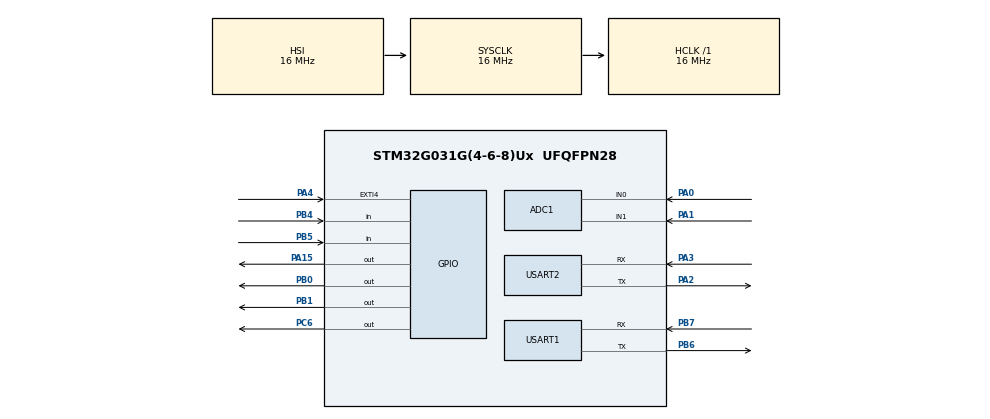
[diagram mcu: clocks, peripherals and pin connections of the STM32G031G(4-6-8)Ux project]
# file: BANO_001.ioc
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ADC1.Channel-1\#ChannelRegularConversion=ADC_CHANNEL_0
ADC1.Channel-3\#ChannelRegularConversion=ADC_CHANNEL_1
ADC1.ClockPrescaler=ADC_CLOCK_ASYNC_DIV10
ADC1.DiscontinuousConvMode=ENABLE
ADC1.NbrOfConversion=2
ADC1.NbrOfConversionFlag=1
ADC1.Rank-1\#ChannelRegularConversion=1
ADC1.Rank-3\#ChannelRegularConversion=2
ADC1.SamplingTime-1\#ChannelRegularConversion=ADC_SAMPLINGTIME_COMMON_1
ADC1.SamplingTime-3\#ChannelRegularConversion=ADC_SAMPLINGTIME_COMMON_2
ADC1.SamplingTimeCommon1=ADC_SAMPLETIME_160CYCLES_5
ADC1.SamplingTimeCommon2=ADC_SAMPLETIME_160CYCLES_5
ADC1.SelectedChannel=ADC_CHANNEL_0|ADC_CHANNEL_1
ADC1.Sequencer=FULLY_CONFIGURABLE
ADC1.master=1
Mcu.Family=STM32G0
Mcu.Name=STM32G031G(4-6-8)Ux
Mcu.Package=UFQFPN28
NVIC.TIM2_IRQn=true\:0\:0\:false\:false\:true\:true\:true\:true
NVIC.USART1_IRQn=true\:0\:0\:false\:false\:true\:true\:true\:true
NVIC.USART2_IRQn=true\:0\:0\:false\:false\:true\:true\:true\:true
PA0.Mode=IN0
PA0.Signal=ADC1_IN0
PA1.Mode=IN1
PA1.Signal=ADC1_IN1
PA15.Signal=GPIO_Output
PA2.Mode=Asynchronous
PA2.Signal=USART2_TX
PA3.Mode=Asynchronous
PA3.Signal=USART2_RX
PA4.Signal=GPXTI4
PB0.PinState=GPIO_PIN_SET
PB0.Signal=GPIO_Output
PB1.Signal=GPIO_Output
PB4.Signal=GPIO_Input
PB5.Signal=GPIO_Input
PB6.Mode=Asynchronous
PB6.Signal=USART1_TX
PB7.Mode=Asynchronous
PB7.Signal=USART1_RX
PC6.Signal=GPIO_Output
ProjectManager.HeapSize=0x200
ProjectManager.StackSize=0x400
ProjectManager.TargetToolchain=STM32CubeIDE
RCC.AHBFreq_Value=16000000
RCC.CortexFreq_Value=16000000
RCC.EXTERNAL_CLOCK_VALUE=12288000
RCC.HCLKFreq_Value=16000000
RCC.HSE_VALUE=8000000
RCC.HSI_VALUE=16000000
RCC.LSE_VALUE=32768
RCC.SYSCLKFreq_VALUE=16000000
RCC.VCOOutputFreq_Value=128000000
TIM2.Period=1
TIM2.Prescaler=15999
USART1.VirtualMode-Asynchronous=VM_ASYNC
USART2.VirtualMode-Asynchronous=VM_ASYNC
VP_TIM2_VS_ClockSourceINT.Mode=Internal
board=custom

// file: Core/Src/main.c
/* USER CODE BEGIN Header */
/**
  ******************************************************************************
  * @file           : main.c
  * @brief          : Main program body
  ******************************************************************************
  * @attention
  *
  * Copyright (c) 2024 STMicroelectronics.
  * All rights reserved.
  *
  * This software is licensed under terms that can be found in the LICENSE file
  * in the root directory of this software component.
  * If no LICENSE file comes with this software, it is provided AS-IS.
  *
  ******************************************************************************
  */

#include "Thermistor_Processing.h"

/* USER CODE END Header */
#include "main.h"

/* USER CODE BEGIN PD */

#define BUFFER_SIZE                                                     32

#define PERIOD   250
#define FLASH_PERIOD   25

/* USER CODE END PD */

ADC_HandleTypeDef hadc1;

TIM_HandleTypeDef htim2;

UART_HandleTypeDef huart1;
UART_HandleTypeDef huart2;

/* USER CODE BEGIN PV */

uint8_t transmitBuffer[BUFFER_SIZE];
uint8_t receiveBuffer[BUFFER_SIZE];

uint32_t Timer_State;

float Temperature;

/* USER CODE END PV */

void SystemClock_Config(void);
static void MX_GPIO_Init(void);
static void MX_ADC1_Init(void);
static void MX_USART1_UART_Init(void);
static void MX_USART2_UART_Init(void);
static void MX_TIM2_Init(void);
/* USER CODE BEGIN PFP */

void HEX_to_DEC(uint32_t Hex, char * DEC)
{
	char T = 48;
	DEC[3] = T;
	DEC[2] = T;
	DEC[1] = T;
	DEC[0] = T;
	while( Hex >= 1000 )
	{Hex = Hex - 1000; DEC[0] = DEC[0] + 1;}

	while( Hex >= 100 )
	{Hex = Hex - 100; DEC[1] = DEC[1] + 1;}

	while( Hex >= 10 )
	{Hex = Hex - 10; DEC[2] = DEC[2] + 1;}
	DEC[3] = DEC[3] + Hex;
}

/* USER CODE END PFP */

/* USER CODE BEGIN 0 */

// https://microtechnics.ru/stm32cube-tajmer-i-preryvaniya/

/* USER CODE END 0 */

int main(void)
{

  /* MCU Configuration--------------------------------------------------------*/

  /* Reset of all peripherals, Initializes the Flash interface and the Systick. */
  HAL_Init();

  /* USER CODE BEGIN Init */

  Timer_State = 0;

  /* USER CODE END Init */

  /* Configure the system clock */
  SystemClock_Config();

  /* Initialize all configured peripherals */
  MX_GPIO_Init();
  MX_ADC1_Init();
  MX_USART1_UART_Init();
  MX_USART2_UART_Init();
  MX_TIM2_Init();
  /* USER CODE BEGIN 2 */

  HAL_TIM_Base_Start_IT(&htim2);

  HAL_ADCEx_Calibration_Start(&hadc1);

  /* USER CODE END 2 */

  /* Infinite loop */
  while (1)
  {

  }
}

void SystemClock_Config(void)
{
  RCC_OscInitTypeDef RCC_OscInitStruct = {0};
  RCC_ClkInitTypeDef RCC_ClkInitStruct = {0};

  /** Configure the main internal regulator output voltage
  */
  HAL_PWREx_ControlVoltageScaling(PWR_REGULATOR_VOLTAGE_SCALE1);

  /** Initializes the RCC Oscillators according to the specified parameters
  * in the RCC_OscInitTypeDef structure.
  */
  RCC_OscInitStruct.OscillatorType = RCC_OSCILLATORTYPE_HSI;
  RCC_OscInitStruct.HSIState = RCC_HSI_ON;
  RCC_OscInitStruct.HSIDiv = RCC_HSI_DIV1;
  RCC_OscInitStruct.HSICalibrationValue = RCC_HSICALIBRATION_DEFAULT;
  RCC_OscInitStruct.PLL.PLLState = RCC_PLL_NONE;
  if (HAL_RCC_OscConfig(&RCC_OscInitStruct) != HAL_OK)
  {
    Error_Handler();
  }

  /** Initializes the CPU, AHB and APB buses clocks
  */
  RCC_ClkInitStruct.ClockType = RCC_CLOCKTYPE_HCLK|RCC_CLOCKTYPE_SYSCLK
                              |RCC_CLOCKTYPE_PCLK1;
  RCC_ClkInitStruct.SYSCLKSource = RCC_SYSCLKSOURCE_HSI;
  RCC_ClkInitStruct.AHBCLKDivider = RCC_SYSCLK_DIV1;
  RCC_ClkInitStruct.APB1CLKDivider = RCC_HCLK_DIV1;

  if (HAL_RCC_ClockConfig(&RCC_ClkInitStruct, FLASH_LATENCY_0) != HAL_OK)
  {
    Error_Handler();
  }
}

static void MX_ADC1_Init(void)
{

  ADC_ChannelConfTypeDef sConfig = {0};

  /** Configure the global features of the ADC (Clock, Resolution, Data Alignment and number of conversion)
  */
  hadc1.Instance = ADC1;
  hadc1.Init.ClockPrescaler = ADC_CLOCK_ASYNC_DIV10;
  hadc1.Init.Resolution = ADC_RESOLUTION_12B;
  hadc1.Init.DataAlign = ADC_DATAALIGN_RIGHT;
  hadc1.Init.ScanConvMode = ADC_SCAN_ENABLE;
  hadc1.Init.EOCSelection = ADC_EOC_SINGLE_CONV;
  hadc1.Init.LowPowerAutoWait = DISABLE;
  hadc1.Init.LowPowerAutoPowerOff = DISABLE;
  hadc1.Init.ContinuousConvMode = DISABLE;
  hadc1.Init.NbrOfConversion = 2;
  hadc1.Init.DiscontinuousConvMode = ENABLE;
  hadc1.Init.ExternalTrigConv = ADC_SOFTWARE_START;
  hadc1.Init.ExternalTrigConvEdge = ADC_EXTERNALTRIGCONVEDGE_NONE;
  hadc1.Init.DMAContinuousRequests = DISABLE;
  hadc1.Init.Overrun = ADC_OVR_DATA_PRESERVED;
  hadc1.Init.SamplingTimeCommon1 = ADC_SAMPLETIME_160CYCLES_5;
  hadc1.Init.SamplingTimeCommon2 = ADC_SAMPLETIME_160CYCLES_5;
  hadc1.Init.OversamplingMode = DISABLE;
  hadc1.Init.TriggerFrequencyMode = ADC_TRIGGER_FREQ_HIGH;
  if (HAL_ADC_Init(&hadc1) != HAL_OK)
  {
    Error_Handler();
  }

  /** Configure Regular Channel
  */
  sConfig.Channel = ADC_CHANNEL_0;
  sConfig.Rank = ADC_REGULAR_RANK_1;
  sConfig.SamplingTime = ADC_SAMPLINGTIME_COMMON_1;
  if (HAL_ADC_ConfigChannel(&hadc1, &sConfig) != HAL_OK)
  {
    Error_Handler();
  }

  /** Configure Regular Channel
  */
  sConfig.Channel = ADC_CHANNEL_1;
  sConfig.Rank = ADC_REGULAR_RANK_2;
  sConfig.SamplingTime = ADC_SAMPLINGTIME_COMMON_2;
  if (HAL_ADC_ConfigChannel(&hadc1, &sConfig) != HAL_OK)
  {
    Error_Handler();
  }

}

static void MX_TIM2_Init(void)
{

  TIM_ClockConfigTypeDef sClockSourceConfig = {0};
  TIM_MasterConfigTypeDef sMasterConfig = {0};

  htim2.Instance = TIM2;
  htim2.Init.Prescaler = 15999;
  htim2.Init.CounterMode = TIM_COUNTERMODE_UP;
  htim2.Init.Period = 1;
  htim2.Init.ClockDivision = TIM_CLOCKDIVISION_DIV1;
  htim2.Init.AutoReloadPreload = TIM_AUTORELOAD_PRELOAD_DISABLE;
  if (HAL_TIM_Base_Init(&htim2) != HAL_OK)
  {
    Error_Handler();
  }
  sClockSourceConfig.ClockSource = TIM_CLOCKSOURCE_INTERNAL;
  if (HAL_TIM_ConfigClockSource(&htim2, &sClockSourceConfig) != HAL_OK)
  {
    Error_Handler();
  }
  sMasterConfig.MasterOutputTrigger = TIM_TRGO_RESET;
  sMasterConfig.MasterSlaveMode = TIM_MASTERSLAVEMODE_DISABLE;
  if (HAL_TIMEx_MasterConfigSynchronization(&htim2, &sMasterConfig) != HAL_OK)
  {
    Error_Handler();
  }

}

static void MX_USART1_UART_Init(void)
{

  huart1.Instance = USART1;
  huart1.Init.BaudRate = 115200;
  huart1.Init.WordLength = UART_WORDLENGTH_8B;
  huart1.Init.StopBits = UART_STOPBITS_1;
  huart1.Init.Parity = UART_PARITY_NONE;
  huart1.Init.Mode = UART_MODE_TX_RX;
  huart1.Init.HwFlowCtl = UART_HWCONTROL_NONE;
  huart1.Init.OverSampling = UART_OVERSAMPLING_16;
  huart1.Init.OneBitSampling = UART_ONE_BIT_SAMPLE_DISABLE;
  huart1.Init.ClockPrescaler = UART_PRESCALER_DIV1;
  huart1.AdvancedInit.AdvFeatureInit = UART_ADVFEATURE_NO_INIT;
  if (HAL_UART_Init(&huart1) != HAL_OK)
  {
    Error_Handler();
  }
  if (HAL_UARTEx_SetTxFifoThreshold(&huart1, UART_TXFIFO_THRESHOLD_1_8) != HAL_OK)
  {
    Error_Handler();
  }
  if (HAL_UARTEx_SetRxFifoThreshold(&huart1, UART_RXFIFO_THRESHOLD_1_8) != HAL_OK)
  {
    Error_Handler();
  }
  if (HAL_UARTEx_DisableFifoMode(&huart1) != HAL_OK)
  {
    Error_Handler();
  }

}

static void MX_USART2_UART_Init(void)
{

  huart2.Instance = USART2;
  huart2.Init.BaudRate = 115200;
  huart2.Init.WordLength = UART_WORDLENGTH_8B;
  huart2.Init.StopBits = UART_STOPBITS_1;
  huart2.Init.Parity = UART_PARITY_NONE;
  huart2.Init.Mode = UART_MODE_TX_RX;
  huart2.Init.HwFlowCtl = UART_HWCONTROL_NONE;
  huart2.Init.OverSampling = UART_OVERSAMPLING_16;
  huart2.Init.OneBitSampling = UART_ONE_BIT_SAMPLE_DISABLE;
  huart2.Init.ClockPrescaler = UART_PRESCALER_DIV1;
  huart2.AdvancedInit.AdvFeatureInit = UART_ADVFEATURE_NO_INIT;
  if (HAL_UART_Init(&huart2) != HAL_OK)
  {
    Error_Handler();
  }

}

static void MX_GPIO_Init(void)
{
  GPIO_InitTypeDef GPIO_InitStruct = {0};

  /* GPIO Ports Clock Enable */
  __HAL_RCC_GPIOA_CLK_ENABLE();
  __HAL_RCC_GPIOB_CLK_ENABLE();
  __HAL_RCC_GPIOC_CLK_ENABLE();

  /*Configure GPIO pin Output Level */
  HAL_GPIO_WritePin(GPIOB, GPIO_PIN_0, GPIO_PIN_SET);

  /*Configure GPIO pin Output Level */
  HAL_GPIO_WritePin(GPIOB, GPIO_PIN_1, GPIO_PIN_RESET);

  /*Configure GPIO pin Output Level */
  HAL_GPIO_WritePin(GPIOC, GPIO_PIN_6, GPIO_PIN_RESET);

  /*Configure GPIO pin Output Level */
  HAL_GPIO_WritePin(GPIOA, GPIO_PIN_15, GPIO_PIN_RESET);

  /*Configure GPIO pin : PA4 */
  GPIO_InitStruct.Pin = GPIO_PIN_4;
  GPIO_InitStruct.Mode = GPIO_MODE_IT_RISING;
  GPIO_InitStruct.Pull = GPIO_NOPULL;
  HAL_GPIO_Init(GPIOA, &GPIO_InitStruct);

  /*Configure GPIO pins : PB0 PB1 */
  GPIO_InitStruct.Pin = GPIO_PIN_0|GPIO_PIN_1;
  GPIO_InitStruct.Mode = GPIO_MODE_OUTPUT_PP;
  GPIO_InitStruct.Pull = GPIO_NOPULL;
  GPIO_InitStruct.Speed = GPIO_SPEED_FREQ_LOW;
  HAL_GPIO_Init(GPIOB, &GPIO_InitStruct);

  /*Configure GPIO pin : PC6 */
  GPIO_InitStruct.Pin = GPIO_PIN_6;
  GPIO_InitStruct.Mode = GPIO_MODE_OUTPUT_PP;
  GPIO_InitStruct.Pull = GPIO_NOPULL;
  GPIO_InitStruct.Speed = GPIO_SPEED_FREQ_LOW;
  HAL_GPIO_Init(GPIOC, &GPIO_InitStruct);

  /*Configure GPIO pin : PA15 */
  GPIO_InitStruct.Pin = GPIO_PIN_15;
  GPIO_InitStruct.Mode = GPIO_MODE_OUTPUT_PP;
  GPIO_InitStruct.Pull = GPIO_NOPULL;
  GPIO_InitStruct.Speed = GPIO_SPEED_FREQ_LOW;
  HAL_GPIO_Init(GPIOA, &GPIO_InitStruct);

  /*Configure GPIO pins : PB4 PB5 */
  GPIO_InitStruct.Pin = GPIO_PIN_4|GPIO_PIN_5;
  GPIO_InitStruct.Mode = GPIO_MODE_INPUT;
  GPIO_InitStruct.Pull = GPIO_NOPULL;
  HAL_GPIO_Init(GPIOB, &GPIO_InitStruct);

}

/* USER CODE BEGIN 4 */

void HAL_TIM_PeriodElapsedCallback(TIM_HandleTypeDef *htim)
{
	static uint16_t cntr = 0;
    if (htim->Instance == TIM2)
    {

    	if(Timer_State == PERIOD)
    	{
    		Timer_State = 0;

    		HAL_GPIO_WritePin(GPIOA, GPIO_PIN_15, 1);
    		HAL_GPIO_WritePin(GPIOB, GPIO_PIN_0, 1);

    	uint32_t Data[2];
    	ADC_ChannelConfTypeDef sConfig = {0};

    	  transmitBuffer[0] = (char)'t';
    	  transmitBuffer[1] = (char)'=';
    	  transmitBuffer[2] = (char)'1';
    	  transmitBuffer[3] = (char)'0';
    	  transmitBuffer[4] = (char)'0';
    	  transmitBuffer[5] = (char)'C';
    	  transmitBuffer[8] = (char)'\n';

    	  HAL_ADC_Start(&hadc1);
    	  HAL_ADC_PollForConversion(&hadc1,100);
    	  Data[0] =  HAL_ADC_GetValue(&hadc1);

    	  float V_in;
    	  V_in = (float)(Data[0]) / (float)(4096) * 3.4 * 40;
          char Temp1[5];
          snprintf(Temp1, 5, "%f", V_in);

    	  transmitBuffer[0] = 'U';
    	  transmitBuffer[1] = 'i';
    	  transmitBuffer[2] = '=';

    	  transmitBuffer[3] = Temp1[0];
    	  transmitBuffer[4] = Temp1[1];
    	  transmitBuffer[5] = Temp1[2];
    	  transmitBuffer[6] = Temp1[3];
    	  transmitBuffer[7] =  'V';

    	  HAL_ADC_Start(&hadc1);
    	  HAL_ADC_PollForConversion(&hadc1, 100);
    	  Data[1] =  HAL_ADC_GetValue(&hadc1);
    	  HAL_ADC_Stop(&hadc1);

//    	  https://community.st.com/t5/stm32cubemx-mcus/reading-multiple-adc-channel/td-p/171369

    	  Temperature = Estimate_Temperature(Data[1]);
    	  char Temp[5];
    	  Give_Temperature(Temperature, Temp);

     	//  HEX_to_DEC(Data[0], &transmitBuffer[2]);
    	  transmitBuffer[8] = ' ';
    	  transmitBuffer[9] = 'T';
    	  transmitBuffer[10] = '=';

    	  transmitBuffer[11] = Temp[0];
    	  transmitBuffer[12] = Temp[1];
    	  transmitBuffer[13] = Temp[2];
    	  transmitBuffer[14] = Temp[3];
//    	  HEX_to_DEC(Data[1], &transmitBuffer[7]);
    	  transmitBuffer[15] = 'C';//(char)'\n';

        HAL_UART_Transmit_IT(&huart2, transmitBuffer, 16);
    	}
    	else if(Timer_State == FLASH_PERIOD)
    	{
    		HAL_GPIO_WritePin(GPIOA, GPIO_PIN_15, 0);
    		HAL_GPIO_WritePin(GPIOB, GPIO_PIN_0, 0);
    		Timer_State ++;
    	}
    	else{Timer_State ++;}
    }
}

/* USER CODE END 4 */

void Error_Handler(void)
{
  __disable_irq();
  while (1)
  {
  }
}
